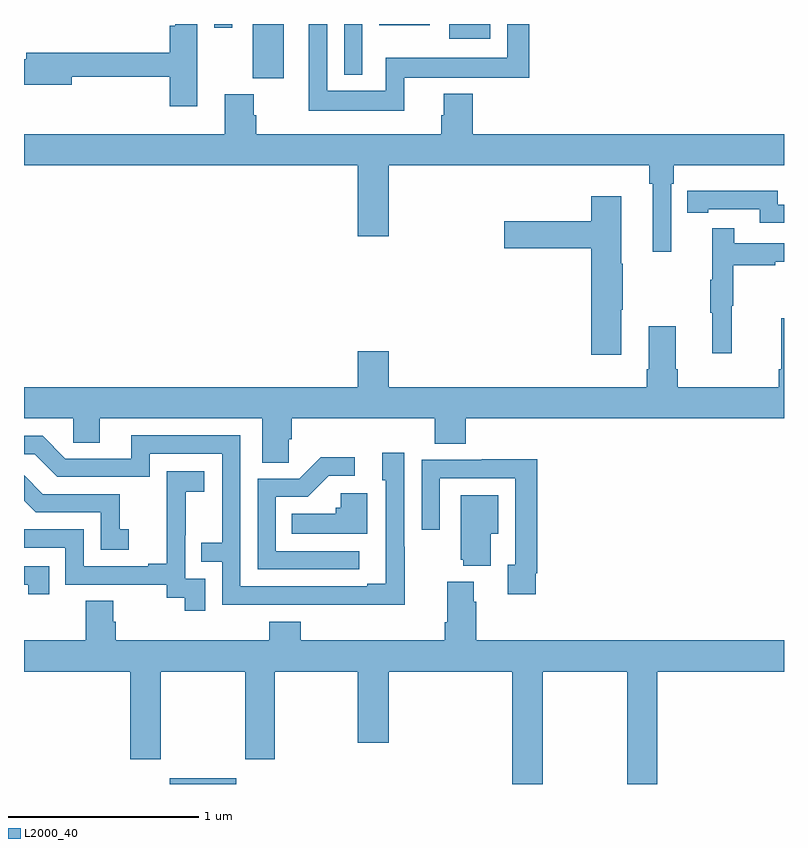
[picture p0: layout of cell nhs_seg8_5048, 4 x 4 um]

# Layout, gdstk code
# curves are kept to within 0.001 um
import gdstk
lib = gdstk.Library(unit=1e-6, precision=1e-09)
def R(c, l, rs):  # rectangles x0, y0, x1, y1
    for r in rs: c.add(gdstk.rectangle(r[:2], r[2:], *l))
def P(c, l, *ps):  # polygons
    for p in ps: c.add(gdstk.Polygon(p, *l))
L2000_40 = (2000, 40)

nhs_seg8_5048 = lib.new_cell('nhs_seg8_5048')
R(nhs_seg8_5048, L2000_40, [(415.766,1123.9,416.116,1123.93), (416.204,1127.614,416.368,1127.9), (416.685,1127.633,416.781,1127.9), (417.239,1127.822,417.454,1127.9), (416.001,1127.88,416.097,1127.9), (416.87,1127.894,417.136,1127.9)])
P(nhs_seg8_5048, L2000_40, [(415.912,1127.727),(415.911,1127.727),(415.911,1127.9),(415.795,1127.9),(415.795,1127.89),(415.766,1127.89),(415.766,1127.75),(415.013,1127.75),(415.013,1127.714),(415,1127.714),(415,1127.579),(415.252,1127.579),(415.252,1127.622),(415.766,1127.622),(415.766,1127.466),(415.912,1127.466)],
  [(417.002,1127.618),(417.536,1127.618),(417.536,1127.616),(417.659,1127.616),(417.659,1127.9),(417.543,1127.9),(417.543,1127.722),(416.904,1127.722),(416.904,1127.548),(416.595,1127.548),(416.595,1127.9),(416.498,1127.9),(416.498,1127.444),(417.002,1127.444)],
  [(418.407,1127.06),(418.421,1127.06),(418.421,1127.156),(419,1127.156),(419,1127.32),(417.362,1127.32),(417.362,1127.533),(417.209,1127.533),(417.209,1127.421),(417.197,1127.421),(417.197,1127.32),(416.222,1127.32),(416.222,1127.42),(416.209,1127.42),(416.209,1127.529),(416.057,1127.529),(416.057,1127.32),(415,1127.32),(415,1127.156),(416.756,1127.156),(416.756,1126.782),(416.92,1126.782),(416.92,1127.156),(418.291,1127.156),(418.291,1127.06),(418.31,1127.06),(418.31,1126.701),(418.407,1126.701)],
  [(419,1126.95),(418.968,1126.95),(418.968,1127.023),(418.6,1127.023),(418.6,1127.022),(418.492,1127.022),(418.492,1126.906),(418.6,1126.906),(418.6,1126.926),(418.872,1126.926),(418.872,1126.854),(419,1126.854)],
  [(418.144,1126.396),(418.152,1126.396),(418.152,1126.637),(418.144,1126.637),(418.144,1126.993),(417.986,1126.993),(417.986,1126.863),(417.528,1126.863),(417.528,1126.721),(417.986,1126.721),(417.986,1126.158),(418.144,1126.158)],
  [(418.724,1126.416),(418.732,1126.416),(418.732,1126.63),(418.955,1126.63),(418.955,1126.65),(419,1126.65),(419,1126.746),(418.739,1126.746),(418.739,1126.825),(418.622,1126.825),(418.622,1126.553),(418.611,1126.553),(418.611,1126.379),(418.622,1126.379),(418.622,1126.167),(418.724,1126.167)],
  [(417.161,1125.691),(417.326,1125.691),(417.326,1125.824),(419,1125.824),(419,1126.351),(418.985,1126.351),(418.985,1126.084),(418.973,1126.084),(418.973,1125.988),(418.442,1125.988),(418.442,1126.084),(418.429,1126.084),(418.429,1126.309),(418.289,1126.309),(418.289,1126.084),(418.277,1126.084),(418.277,1125.988),(416.92,1125.988),(416.92,1126.177),(416.756,1126.177),(416.756,1125.988),(415,1125.988),(415,1125.824),(415.26,1125.824),(415.26,1125.697),(415.399,1125.697),(415.399,1125.824),(416.255,1125.824),(416.255,1125.592),(416.394,1125.592),(416.394,1125.715),(416.408,1125.715),(416.408,1125.824),(417.161,1125.824)],
  [(417.003,1125.149),(417,1125.149),(417,1125.643),(416.885,1125.643),(416.885,1125.498),(416.904,1125.498),(416.904,1124.953),(416.807,1124.953),(416.807,1124.94),(416.139,1124.94),(416.139,1125.735),(415.565,1125.735),(415.565,1125.612),(415.218,1125.612),(415.098,1125.732),(415,1125.732),(415,1125.636),(415.056,1125.636),(415.176,1125.516),(415.662,1125.516),(415.662,1125.639),(416.043,1125.639),(416.043,1125.17),(415.933,1125.17),(415.933,1125.069),(416.043,1125.069),(416.043,1124.844),(417.003,1124.843)],
  [(416.764,1125.126),(416.325,1125.126),(416.325,1125.411),(416.494,1125.411),(416.605,1125.522),(416.74,1125.522),(416.74,1125.62),(416.561,1125.62),(416.448,1125.507),(416.229,1125.507),(416.229,1125.03),(416.764,1125.03)],
  [(417.694,1125.01),(417.701,1125.01),(417.701,1125.608),(417.409,1125.608),(417.409,1125.606),(417.093,1125.606),(417.093,1125.237),(417.189,1125.237),(417.189,1125.51),(417.585,1125.51),(417.585,1125.054),(417.545,1125.054),(417.545,1124.898),(417.694,1124.898)],
  [(415.953,1124.979),(415.848,1124.979),(415.848,1125.209),(415.85,1125.209),(415.85,1125.437),(415.948,1125.437),(415.948,1125.547),(415.75,1125.547),(415.75,1125.341),(415.751,1125.341),(415.751,1125.058),(415.655,1125.058),(415.655,1125.045),(415.314,1125.045),(415.314,1125.24),(415,1125.24),(415,1125.144),(415.218,1125.144),(415.218,1124.949),(415.752,1124.949),(415.752,1124.881),(415.845,1124.881),(415.845,1124.811),(415.953,1124.811)],
  [(415.552,1125.241),(415.503,1125.241),(415.503,1125.426),(415.099,1125.426),(415,1125.525),(415,1125.392),(415.062,1125.33),(415.404,1125.33),(415.404,1125.132),(415.552,1125.132)],
  [(416.806,1125.43),(416.667,1125.43),(416.667,1125.354),(416.641,1125.354),(416.641,1125.322),(416.41,1125.322),(416.41,1125.218),(416.806,1125.218)],
  [(417.457,1125.218),(417.496,1125.218),(417.496,1125.421),(417.299,1125.421),(417.299,1125.081),(417.311,1125.081),(417.311,1125.05),(417.457,1125.05)],
  [(415.133,1125.045),(415,1125.045),(415,1124.949),(415.022,1124.949),(415.022,1124.898),(415.133,1124.898)],
  [(417.729,1124.492),(418.174,1124.492),(418.174,1123.9),(418.334,1123.9),(418.334,1124.492),(419,1124.492),(419,1124.656),(417.38,1124.656),(417.38,1124.858),(417.367,1124.858),(417.367,1124.965),(417.227,1124.965),(417.227,1124.752),(417.215,1124.752),(417.215,1124.656),(416.456,1124.656),(416.456,1124.755),(416.291,1124.755),(416.291,1124.656),(415.484,1124.656),(415.484,1124.754),(415.471,1124.754),(415.471,1124.864),(415.324,1124.864),(415.324,1124.656),(415,1124.656),(415,1124.492),(415.559,1124.492),(415.559,1124.031),(415.719,1124.031),(415.719,1124.492),(416.164,1124.492),(416.164,1124.031),(416.319,1124.031),(416.319,1124.492),(416.756,1124.492),(416.756,1124.118),(416.92,1124.118),(416.92,1124.492),(417.569,1124.492),(417.569,1123.9),(417.729,1123.9)])

lib.write_gds('nhs_seg8_5048.gds')
